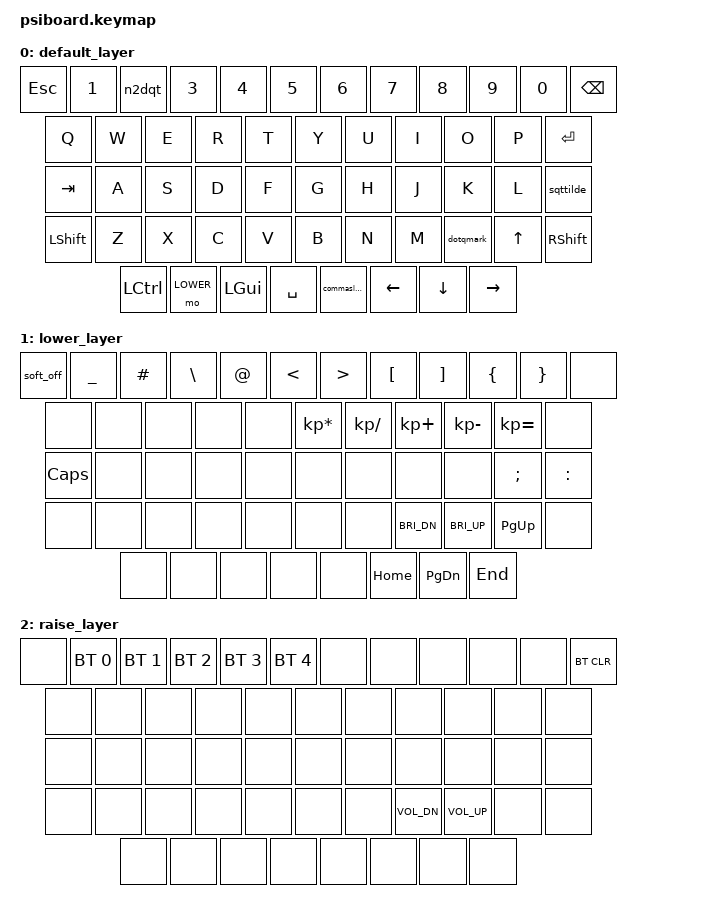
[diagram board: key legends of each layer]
#include <behaviors.dtsi>
#include <dt-bindings/zmk/bt.h>
#include <dt-bindings/zmk/keys.h>

#define LOWER 1
#define RAISE 2

/ {

    behaviors {

        dotqmark: dot_question {
            compatible = "zmk,behavior-mod-morph";
            label = "DOT_QUESTION";
            #binding-cells = <0>;
            bindings = <&kp DOT>, <&kp QUESTION>;
            mods = <(MOD_LSFT|MOD_RSFT)>;
        };

        n2dqt: n2_double_quotes {
            compatible = "zmk,behavior-mod-morph";
            label = "N2_DOUBLE_QUOTES";
            #binding-cells = <0>;
            bindings = <&kp N2>, <&kp DOUBLE_QUOTES>;
            mods = <(MOD_LSFT|MOD_RSFT)>;
        };

        commaslash: comma_slash {
            compatible = "zmk,behavior-mod-morph";
            label = "COMMA_SLASH";
            #binding-cells = <0>;
            bindings = <&kp COMMA>, <&kp SLASH>;
            mods = <(MOD_LSFT|MOD_RSFT)>;
        };

        sqttilde: single_quote_tilde {
            compatible = "zmk,behavior-mod-morph";
            label = "SINGLE_QUOTE_TILDE";
            #binding-cells = <0>;
            bindings = <&kp SINGLE_QUOTE>, <&kp TILDE>;
            mods = <(MOD_LSFT|MOD_RSFT)>;
        };

    };

    combos {
        compatible = "zmk,combos";

        combo_fn_menu {
            timeout-ms = <50>;
            key-positions = <46 47>;
            bindings = <&mo RAISE>;
            slow-release;
        };

    };

    keymap {
        compatible = "zmk,keymap";

        default_layer {

            bindings = <

                  &kp ESC      &kp N1        &n2dqt        &kp N3        &kp N4        &kp N5        &kp N6        &kp N7        &kp N8        &kp N9        &kp N0        &kp BSPC

                       &kp Q         &kp W         &kp E         &kp R         &kp T         &kp Y         &kp U         &kp I         &kp O         &kp P         &kp RET

                  &kp TAB       &kp A         &kp S         &kp D         &kp F         &kp G         &kp H         &kp J         &kp K         &kp L      &sqttilde

                       &kp LSHFT     &kp Z         &kp X         &kp C         &kp V         &kp B         &kp N         &kp M         &dotqmark     &kp UP        &kp RSHFT

                       &kp LCTRL   &mo LOWER    &kp LEFT_GUI                         &kp SPACE                        &commaslash      &kp LEFT      &kp DOWN      &kp RIGHT

            >;

        };

        lower_layer {

            bindings = <

                &soft_off   &kp UNDER      &kp HASH      &kp BSLH      &kp AT         &kp LT        &kp GT       &kp LBKT     &kp RBKT       &kp LBRC      &kp RBRC        &none

                       &none         &none         &none         &none         &none   &kp KP_MULTIPLY &kp KP_DIVIDE  &kp KP_PLUS  &kp KP_MINUS   &kp KP_EQUAL      &none

                &kp CAPS      &none         &none         &none         &none         &none         &none         &none         &none       &kp SEMI       &kp COLON

                       &none         &none         &none         &none         &none         &none         &none      &kp C_BRI_DN  &kp C_BRI_UP    &kp PG_UP       &none

                       &none         &none         &none                           &none                               &none       &kp HOME      &kp PG_DN      &kp END
            >;

        };

        raise_layer {

            bindings = <
                  &none   &bt BT_SEL 0  &bt BT_SEL 1  &bt BT_SEL 2  &bt BT_SEL 3  &bt BT_SEL 4      &none         &none         &none         &none         &none       &bt BT_CLR

                       &none         &none         &none         &none         &none         &none         &none         &none         &none         &none         &none

                  &none         &none         &none         &none         &none         &none         &none         &none         &none         &none         &none

                       &none         &none         &none         &none         &none         &none         &none       &kp C_VOL_DN       &kp C_VOL_UP        &none         &none

                       &none         &none         &none                               &none                             &none         &none         &none         &none
            >;

        };

    };
};
